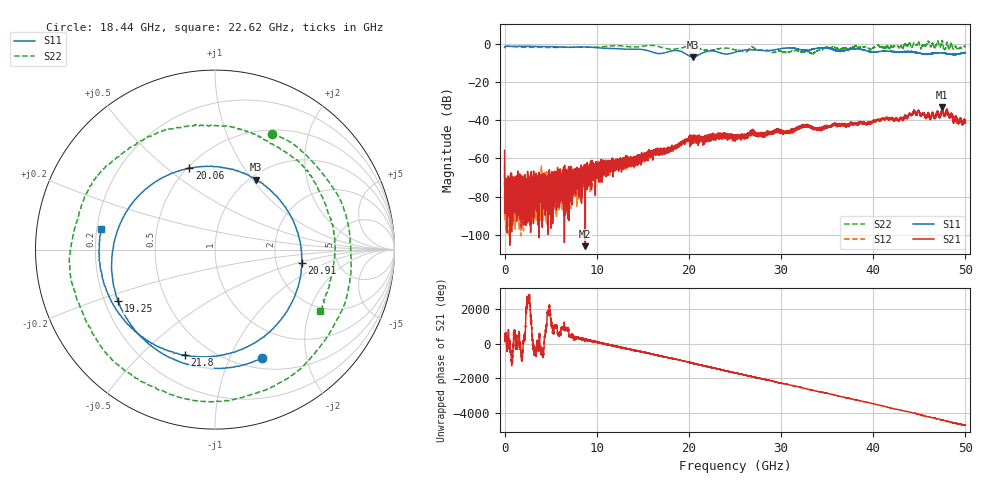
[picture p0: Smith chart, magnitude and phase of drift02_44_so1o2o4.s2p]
!Created with skrf (http://scikit-rf.org).
# Hz S RI R 50.0
!freq ReS11 ImS11 ReS21 ImS21 ReS12 ImS12 ReS22 ImS22
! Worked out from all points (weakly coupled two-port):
!   10001 points, 300 kHz to 50 GHz, reference 50 ohm
!   highest |S21| = -33.25 dB at 47.49 GHz (marker M1); lowest = -105.8 dB at 8.755 GHz (marker M2)
!   lowest |S11| = -6.9 dB at 20.4 GHz (marker M3), VSWR 2.64, Z = 53 + j51.9 ohm
!   |S11| at or under -10 dB: nowhere
!   |S22| runs from -5.3 to 1.6 dB; largest |S21 - S12| = 0.0033
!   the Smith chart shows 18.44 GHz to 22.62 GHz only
!   S11 on the Smith chart (normalised r, x): 18.44 GHz: 0.62, -1.32; 19.25 GHz: 0.26, -0.23; 20.06 GHz: 0.51, +0.60; 20.91 GHz: 2.81, -0.53; 21.8 GHz: 0.37, -0.69; 22.62 GHz: 0.22, +0.08
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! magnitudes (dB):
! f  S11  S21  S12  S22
! 300 kHz  -2.0  -55.7  -63.9  -1.3
! 270.3 MHz  -1.4  -76.2  -75.3  -1.4
! 4.34 GHz  -1.6  -74.0  -78.2  -2.0
! 8.335 GHz  -1.7  -70.2  -69.3  -1.9
! 8.755 GHz  -1.7  -105.8  -75.8  -1.9
! 16.67 GHz  -5.2  -58.0  -55.8  -1.5
! 18.44 GHz  -3.6  -54.0  -54.8  -2.9
! 19.25 GHz  -4.3  -52.1  -52.0  -2.1
! 20.06 GHz  -6.4  -49.9  -50.3  -1.5
! 20.4 GHz  -6.9  -48.7  -49.8  -1.7
! 20.91 GHz  -6.2  -48.0  -49.5  -2.1
! 21.8 GHz  -4.3  -49.4  -50.6  -3.5
! 22.62 GHz  -3.8  -47.3  -49.2  -3.4
! 25 GHz  -4.5  -48.2  -48.4  -3.2
! 26.11 GHz  -3.3  -48.1  -48.2  -4.3
! 26.91 GHz  -3.2  -46.5  -46.6  -1.7
! 33.34 GHz  -3.0  -43.9  -43.5  -5.2
! 34.89 GHz  -2.2  -43.8  -43.7  -2.3
! 41.67 GHz  -4.0  -39.5  -39.2  -2.1
! 44.39 GHz  -4.4  -35.4  -35.2  0.2
! 47.49 GHz  -4.8  -33.2  -33.6  1.3
! 50 GHz  -4.8  -41.6  -40.5  -1.5
